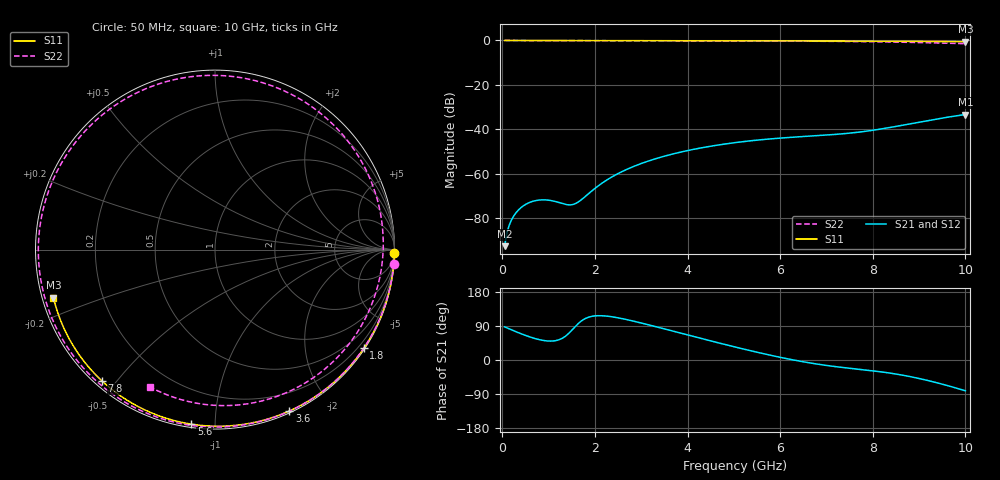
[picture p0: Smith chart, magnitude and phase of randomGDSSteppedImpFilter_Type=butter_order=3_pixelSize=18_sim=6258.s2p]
! freq	dB(S11)	phase(S11)	dB(S12)	phase(S12)
!  dB(S21)	phase(S21)	dB(S22)	phase(S22)
!S-par simulation data
#  GHz  S  DB  R 50
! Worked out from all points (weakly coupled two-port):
!   200 points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, 50 MHz to 10 GHz, reference 50 ohm
!   highest |S21| = -33.29 dB at 10 GHz (marker M1); lowest = -92.4 dB at 50 MHz (marker M2)
!   lowest |S11| = -0.5 dB at 10 GHz (marker M3), VSWR 31.86, Z = 1.6 - j7.27 ohm
!   |S11| at or under -10 dB: nowhere
!   |S22| runs from -1.4 to 0.0 dB; largest |S21 - S12| = 0
!   S11 on the Smith chart (normalised r, x): 50 MHz: open; 1.8 GHz: 0.03, -3.32; 3.6 GHz: 0.02, -1.56; 5.6 GHz: 0.02, -0.87; 7.8 GHz: 0.02, -0.46; 10 GHz: 0.03, -0.15
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0.05  -0.00 -1.0  -92.45 87.4  -92.45 87.4  -0.00 -4.4
0.2  -0.01 -3.8  -80.60 79.5  -80.60 79.5  -0.03 -17.6
0.5  -0.01 -9.4  -73.73 64.9  -73.73 64.9  -0.06 -42.9
0.85  -0.02 -16.0  -71.64 52.4  -71.64 52.4  -0.08 -69.9
1.45  -0.03 -27.1  -73.91 72.1  -73.91 72.1  -0.11 -108.3
1.75  -0.04 -32.6  -70.86 106.5  -70.86 106.5  -0.11 -124.1
1.8  -0.04 -33.5  -69.98 109.9  -69.98 109.9  -0.11 -126.6
2.55  -0.06 -47.0  -59.29 110.1  -59.29 110.1  -0.13 -159.2
3.4  -0.08 -61.8  -52.60 85.3  -52.60 85.3  -0.14 170.4
3.6  -0.09 -65.2  -51.45 78.9  -51.45 78.9  -0.15 163.7
4.3  -0.11 -76.9  -48.25 56.7  -48.25 56.7  -0.17 141.0
5.05  -0.14 -89.0  -45.85 33.6  -45.85 33.6  -0.21 116.5
5.6  -0.16 -97.7  -44.59 17.7  -44.59 17.7  -0.24 97.8
6.15  -0.19 -106.1  -43.65 3.3  -43.65 3.3  -0.28 77.8
6.7  -0.22 -114.4  -42.91 -8.9  -42.91 -8.9  -0.34 56.3
7.3  -0.27 -123.4  -42.04 -19.1  -42.04 -19.1  -0.42 30.7
7.8  -0.31 -130.8  -40.94 -25.8  -40.94 -25.8  -0.53 7.5
8.35  -0.36 -138.8  -39.18 -34.2  -39.18 -34.2  -0.68 -20.1
8.75  -0.40 -144.7  -37.67 -42.5  -37.67 -42.5  -0.83 -41.5
9.25  -0.45 -152.1  -35.77 -55.9  -35.77 -55.9  -1.06 -69.8
9.65  -0.50 -158.1  -34.37 -68.8  -34.37 -68.8  -1.26 -93.7
10  -0.55 -163.4  -33.29 -81.3  -33.29 -81.3  -1.45 -115.4
